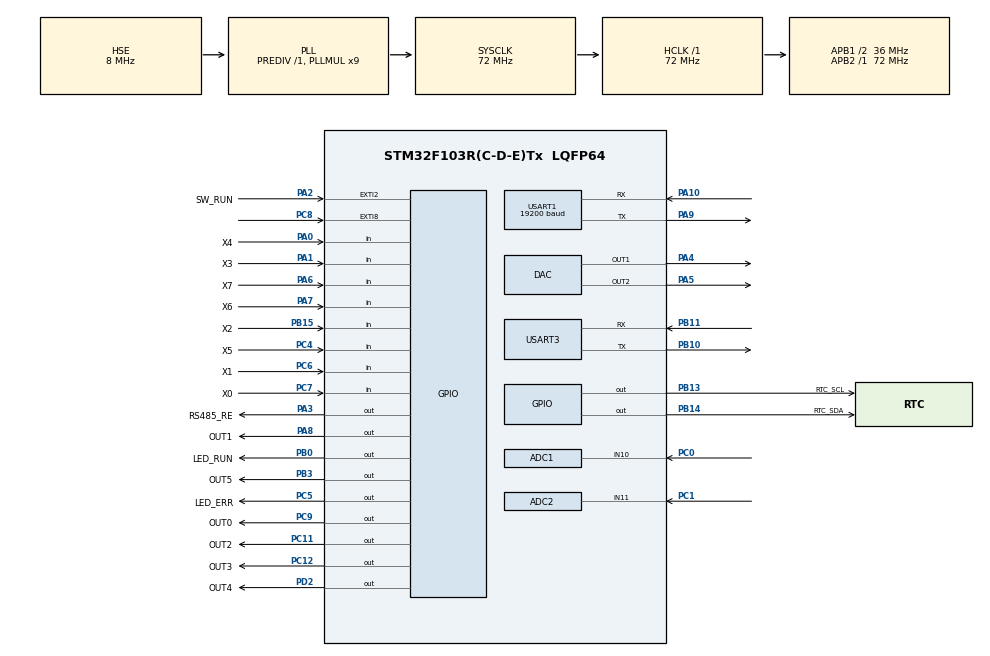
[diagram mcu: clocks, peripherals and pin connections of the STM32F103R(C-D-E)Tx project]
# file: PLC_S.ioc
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ADC1.Channel-0\#ChannelRegularConversion=ADC_CHANNEL_10
ADC1.NbrOfConversionFlag=1
ADC1.Rank-0\#ChannelRegularConversion=1
ADC1.SamplingTime-0\#ChannelRegularConversion=ADC_SAMPLETIME_1CYCLE_5
ADC1.master=1
ADC2.Channel-0\#ChannelRegularConversion=ADC_CHANNEL_11
ADC2.NbrOfConversionFlag=1
ADC2.Rank-0\#ChannelRegularConversion=1
ADC2.SamplingTime-0\#ChannelRegularConversion=ADC_SAMPLETIME_1CYCLE_5
Dma.Request0=USART1_TX
Dma.Request1=USART1_RX
Dma.Request2=USART3_RX
Dma.Request3=USART3_TX
Dma.USART1_RX.1.Direction=DMA_PERIPH_TO_MEMORY
Dma.USART1_RX.1.Instance=DMA1_Channel5
Dma.USART1_RX.1.MemDataAlignment=DMA_MDATAALIGN_BYTE
Dma.USART1_RX.1.MemInc=DMA_MINC_ENABLE
Dma.USART1_RX.1.Mode=DMA_NORMAL
Dma.USART1_RX.1.PeriphDataAlignment=DMA_PDATAALIGN_BYTE
Dma.USART1_RX.1.PeriphInc=DMA_PINC_DISABLE
Dma.USART1_RX.1.Priority=DMA_PRIORITY_LOW
Dma.USART1_TX.0.Direction=DMA_MEMORY_TO_PERIPH
Dma.USART1_TX.0.Instance=DMA1_Channel4
Dma.USART1_TX.0.MemDataAlignment=DMA_MDATAALIGN_BYTE
Dma.USART1_TX.0.MemInc=DMA_MINC_ENABLE
Dma.USART1_TX.0.Mode=DMA_NORMAL
Dma.USART1_TX.0.PeriphDataAlignment=DMA_PDATAALIGN_BYTE
Dma.USART1_TX.0.PeriphInc=DMA_PINC_DISABLE
Dma.USART1_TX.0.Priority=DMA_PRIORITY_LOW
Dma.USART3_RX.2.Direction=DMA_PERIPH_TO_MEMORY
Dma.USART3_RX.2.Instance=DMA1_Channel3
Dma.USART3_RX.2.MemDataAlignment=DMA_MDATAALIGN_BYTE
Dma.USART3_RX.2.MemInc=DMA_MINC_ENABLE
Dma.USART3_RX.2.Mode=DMA_NORMAL
Dma.USART3_RX.2.PeriphDataAlignment=DMA_PDATAALIGN_BYTE
Dma.USART3_RX.2.PeriphInc=DMA_PINC_DISABLE
Dma.USART3_RX.2.Priority=DMA_PRIORITY_LOW
Dma.USART3_TX.3.Direction=DMA_MEMORY_TO_PERIPH
Dma.USART3_TX.3.Instance=DMA1_Channel2
Dma.USART3_TX.3.MemDataAlignment=DMA_MDATAALIGN_BYTE
Dma.USART3_TX.3.MemInc=DMA_MINC_ENABLE
Dma.USART3_TX.3.Mode=DMA_NORMAL
Dma.USART3_TX.3.PeriphDataAlignment=DMA_PDATAALIGN_BYTE
Dma.USART3_TX.3.PeriphInc=DMA_PINC_DISABLE
Dma.USART3_TX.3.Priority=DMA_PRIORITY_LOW
Mcu.Family=STM32F1
Mcu.Name=STM32F103R(C-D-E)Tx
Mcu.Package=LQFP64
NVIC.DMA1_Channel2_IRQn=true\:0\:0\:false\:false\:true\:false\:true
NVIC.DMA1_Channel3_IRQn=true\:0\:0\:false\:false\:true\:false\:true
NVIC.DMA1_Channel4_IRQn=true\:0\:0\:false\:false\:true\:false\:true
NVIC.DMA1_Channel5_IRQn=true\:0\:0\:false\:false\:true\:false\:true
NVIC.PriorityGroup=NVIC_PRIORITYGROUP_4
NVIC.USART1_IRQn=true\:0\:0\:false\:false\:true\:true\:true
NVIC.USART3_IRQn=true\:0\:0\:false\:false\:true\:true\:true
PA0-WKUP.GPIO_Label=X4
PA0-WKUP.Signal=GPIO_Input
PA1.GPIO_Label=X3
PA1.Signal=GPIO_Input
PA10.Mode=Asynchronous
PA10.Signal=USART1_RX
PA13.Mode=Serial_Wire
PA13.Signal=SYS_JTMS-SWDIO
PA14.Mode=Serial_Wire
PA14.Signal=SYS_JTCK-SWCLK
PA2.GPIO_Label=SW_RUN
PA2.Signal=GPXTI2
PA3.GPIO_Label=RS485_RE
PA3.Signal=GPIO_Output
PA4.Signal=COMP_DAC1_group
PA5.Signal=COMP_DAC2_group
PA6.GPIO_Label=X7
PA6.Signal=GPIO_Input
PA7.GPIO_Label=X6
PA7.Signal=GPIO_Input
PA8.GPIO_Label=OUT1
PA8.Signal=GPIO_Output
PA9.Mode=Asynchronous
PA9.Signal=USART1_TX
PB0.GPIO_Label=LED_RUN
PB0.PinState=GPIO_PIN_SET
PB0.Signal=GPIO_Output
PB10.Mode=Asynchronous
PB10.Signal=USART3_TX
PB11.Mode=Asynchronous
PB11.Signal=USART3_RX
PB13.GPIO_Label=RTC_SCL
PB13.GPIO_ModeDefaultOutputPP=GPIO_MODE_OUTPUT_OD
PB13.GPIO_PuPd=GPIO_NOPULL
PB13.GPIO_Speed=GPIO_SPEED_FREQ_HIGH
PB13.PinState=GPIO_PIN_SET
PB13.Signal=GPIO_Output
PB14.GPIO_Label=RTC_SDA
PB14.GPIO_ModeDefaultOutputPP=GPIO_MODE_OUTPUT_OD
PB14.GPIO_PuPd=GPIO_NOPULL
PB14.GPIO_Speed=GPIO_SPEED_FREQ_HIGH
PB14.PinState=GPIO_PIN_SET
PB14.Signal=GPIO_Output
PB15.GPIO_Label=X2
PB15.Signal=GPIO_Input
PB3.GPIO_Label=OUT5
PB3.Signal=GPIO_Output
PC0.Signal=ADCx_IN10
PC1.Signal=ADCx_IN11
PC11.GPIO_Label=OUT2
PC11.Signal=GPIO_Output
PC12.GPIO_Label=OUT3
PC12.Signal=GPIO_Output
PC4.GPIO_Label=X5
PC4.Signal=GPIO_Input
PC5.GPIO_Label=LED_ERR
PC5.Signal=GPIO_Output
PC6.GPIO_Label=X1
PC6.Signal=GPIO_Input
PC7.GPIO_Label=X0
PC7.Signal=GPIO_Input
PC8.Signal=GPXTI8
PC9.GPIO_Label=OUT0
PC9.Signal=GPIO_Output
PD0-OSC_IN.Mode=HSE-External-Oscillator
PD0-OSC_IN.Signal=RCC_OSC_IN
PD1-OSC_OUT.Mode=HSE-External-Oscillator
PD1-OSC_OUT.Signal=RCC_OSC_OUT
PD2.GPIO_Label=OUT4
PD2.Signal=GPIO_Output
ProjectManager.HeapSize=0x200
ProjectManager.StackSize=0x600
ProjectManager.TargetToolchain=STM32CubeIDE
RCC.ADCPresc=RCC_ADCPCLK2_DIV6
RCC.AHBFreq_Value=72000000
RCC.APB1CLKDivider=RCC_HCLK_DIV2
RCC.APB1Freq_Value=36000000
RCC.APB1TimFreq_Value=72000000
RCC.APB2Freq_Value=72000000
RCC.APB2TimFreq_Value=72000000
RCC.HCLKFreq_Value=72000000
RCC.PLLMUL=RCC_PLL_MUL9
RCC.PLLSourceVirtual=RCC_PLLSOURCE_HSE
RCC.SYSCLKFreq_VALUE=72000000
RCC.SYSCLKSource=RCC_SYSCLKSOURCE_PLLCLK
RCC.USBFreq_Value=72000000
SH.ADCx_IN10.0=ADC1_IN10,IN10
SH.ADCx_IN11.0=ADC2_IN11,IN11
SH.COMP_DAC1_group.0=DAC_OUT1,DAC_OUT1
SH.COMP_DAC2_group.0=DAC_OUT2,DAC_OUT2
USART1.BaudRate=19200
USART1.VirtualMode=VM_ASYNC
USART3.VirtualMode=VM_ASYNC
board=custom

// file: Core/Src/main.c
/* USER CODE BEGIN Header */
/**
  ******************************************************************************
  * @file           : main.c
  * @brief          : Main program body
  ******************************************************************************
  * @attention
  *
  * Copyright (c) 2022 STMicroelectronics.
  * All rights reserved.
  *
  * This software is licensed under terms that can be found in the LICENSE file
  * in the root directory of this software component.
  * If no LICENSE file comes with this software, it is provided AS-IS.
  *
  ******************************************************************************
  */
/* USER CODE END Header */
#include "main.h"
#include <stdint.h>
#include <stdio.h>
/* USER CODE BEGIN Includes */
uint8_t data[10];
/* USER CODE END Includes */

ADC_HandleTypeDef hadc1;
ADC_HandleTypeDef hadc2;

DAC_HandleTypeDef hdac;

UART_HandleTypeDef huart1;
UART_HandleTypeDef huart3;
DMA_HandleTypeDef hdma_usart1_tx;
DMA_HandleTypeDef hdma_usart1_rx;
DMA_HandleTypeDef hdma_usart3_rx;
DMA_HandleTypeDef hdma_usart3_tx;

/* USER CODE BEGIN PV */
const uint8_t plc_programCodeBuf[34000] __attribute__((section(".PLC_PROG"))) = {
    // FLASH起始地址为PLC信息**************************最前的0X02表示PLC为16K的程序步,密码区域和差数区域****************
    0x10, 0x00, 0xD8, 0xBA, 0x00, 0x00, 0x00, 0x00,
    0x20, 0x20, 0x20, 0x20, 0x20, 0x20, 0x20, 0x20,
    0x20, 0x20, 0x20, 0x20, 0x20, 0x20, 0x20, 0x20,
    0x20, 0x20, 0x20, 0x20, 0x20, 0x20, 0x20, 0x20,
    0x20, 0x20, 0x20, 0x20, 0x20, 0x20, 0x20, 0x20,
    0x20, 0x20, 0x20, 0x20, 0x20, 0x20, 0x20, 0x20,
    0xF4, 0x09, 0xFF, 0x0B, 0xF4, 0x01, 0xE7, 0x03,
    0x64, 0x0E, 0xC7, 0x0E, 0xDC, 0x0E, 0xFF, 0x0E,
    0x90, 0x01, 0xFE, 0x03, 0x00, 0x00, 0x00, 0x00,
    0x00, 0x00, 0x00, 0x00, 0x00, 0x00, 0x00, 0x00,
    0x83, 0x00, 0x00, 0x00, 0x00, 0x00, 0x00, 0x00,
    0x00, 0x00, 0x00, 0x00, 0x0F, 0x00, //结束指令
    0XFF, 0XFF,
    0XFF, 0XFF, 0XFF, 0XFF, 0XFF, 0XFF, 0XFF, 0XFF,
    0XFF, 0XFF, 0XFF, 0XFF, 0XFF, 0XFF, 0XFF, 0XFF,
    0XFF, 0XFF, 0XFF, 0XFF, 0XFF,
};
/* USER CODE END PV */

void SystemClock_Config(void);
static void MX_GPIO_Init(void);
static void MX_USART1_UART_Init(void);
static void MX_DMA_Init(void);
static void MX_USART3_UART_Init(void);
static void MX_ADC1_Init(void);
static void MX_ADC2_Init(void);
static void MX_DAC_Init(void);
/* USER CODE BEGIN PFP */
#ifdef __GNUC__
#define PUTCHAR_PROTOTYPE int __io_putchar(int ch)
#else
#define PUTCHAR_PROTOTYPE int fputc(int ch, FILE *f)
#endif
/* USER CODE END PFP */

/* USER CODE BEGIN 0 */
PUTCHAR_PROTOTYPE {
  if (ch == '\n')
    HAL_UART_Transmit(&huart1, (uint8_t*)"\r\n", 2, 1000);
  else
    HAL_UART_Transmit(&huart1, (uint8_t*)&ch, 1, 1000);
  return ch;
}
/* USER CODE END 0 */

int main(void)
{

  /* MCU Configuration--------------------------------------------------------*/

  /* Reset of all peripherals, Initializes the Flash interface and the Systick. */
  HAL_Init();

  /* Configure the system clock */
  SystemClock_Config();

  /* Initialize all configured peripherals */
  MX_GPIO_Init();
  MX_USART1_UART_Init();
  MX_DMA_Init();
  MX_USART3_UART_Init();
  MX_ADC1_Init();
  MX_ADC2_Init();
  MX_DAC_Init();
  /* USER CODE BEGIN 2 */
  for (uint8_t i = 0; i < 10; i++)
  {
    data[i] = plc_programCodeBuf[i];
  }
  printf("Hello World\r\n!");
  /* USER CODE END 2 */

  /* Infinite loop */
  while (1)
  {

  }
}

void SystemClock_Config(void)
{
  RCC_OscInitTypeDef RCC_OscInitStruct = {0};
  RCC_ClkInitTypeDef RCC_ClkInitStruct = {0};
  RCC_PeriphCLKInitTypeDef PeriphClkInit = {0};

  /** Initializes the RCC Oscillators according to the specified parameters
  * in the RCC_OscInitTypeDef structure.
  */
  RCC_OscInitStruct.OscillatorType = RCC_OSCILLATORTYPE_HSE;
  RCC_OscInitStruct.HSEState = RCC_HSE_ON;
  RCC_OscInitStruct.HSEPredivValue = RCC_HSE_PREDIV_DIV1;
  RCC_OscInitStruct.HSIState = RCC_HSI_ON;
  RCC_OscInitStruct.PLL.PLLState = RCC_PLL_ON;
  RCC_OscInitStruct.PLL.PLLSource = RCC_PLLSOURCE_HSE;
  RCC_OscInitStruct.PLL.PLLMUL = RCC_PLL_MUL9;
  if (HAL_RCC_OscConfig(&RCC_OscInitStruct) != HAL_OK)
  {
    Error_Handler();
  }
  /** Initializes the CPU, AHB and APB buses clocks
  */
  RCC_ClkInitStruct.ClockType = RCC_CLOCKTYPE_HCLK|RCC_CLOCKTYPE_SYSCLK
                              |RCC_CLOCKTYPE_PCLK1|RCC_CLOCKTYPE_PCLK2;
  RCC_ClkInitStruct.SYSCLKSource = RCC_SYSCLKSOURCE_PLLCLK;
  RCC_ClkInitStruct.AHBCLKDivider = RCC_SYSCLK_DIV1;
  RCC_ClkInitStruct.APB1CLKDivider = RCC_HCLK_DIV2;
  RCC_ClkInitStruct.APB2CLKDivider = RCC_HCLK_DIV1;

  if (HAL_RCC_ClockConfig(&RCC_ClkInitStruct, FLASH_LATENCY_2) != HAL_OK)
  {
    Error_Handler();
  }
  PeriphClkInit.PeriphClockSelection = RCC_PERIPHCLK_ADC;
  PeriphClkInit.AdcClockSelection = RCC_ADCPCLK2_DIV6;
  if (HAL_RCCEx_PeriphCLKConfig(&PeriphClkInit) != HAL_OK)
  {
    Error_Handler();
  }
}

static void MX_ADC1_Init(void)
{

  ADC_ChannelConfTypeDef sConfig = {0};

  /** Common config
  */
  hadc1.Instance = ADC1;
  hadc1.Init.ScanConvMode = ADC_SCAN_DISABLE;
  hadc1.Init.ContinuousConvMode = DISABLE;
  hadc1.Init.DiscontinuousConvMode = DISABLE;
  hadc1.Init.ExternalTrigConv = ADC_SOFTWARE_START;
  hadc1.Init.DataAlign = ADC_DATAALIGN_RIGHT;
  hadc1.Init.NbrOfConversion = 1;
  if (HAL_ADC_Init(&hadc1) != HAL_OK)
  {
    Error_Handler();
  }
  /** Configure Regular Channel
  */
  sConfig.Channel = ADC_CHANNEL_10;
  sConfig.Rank = ADC_REGULAR_RANK_1;
  sConfig.SamplingTime = ADC_SAMPLETIME_1CYCLE_5;
  if (HAL_ADC_ConfigChannel(&hadc1, &sConfig) != HAL_OK)
  {
    Error_Handler();
  }

}

static void MX_ADC2_Init(void)
{

  ADC_ChannelConfTypeDef sConfig = {0};

  /** Common config
  */
  hadc2.Instance = ADC2;
  hadc2.Init.ScanConvMode = ADC_SCAN_DISABLE;
  hadc2.Init.ContinuousConvMode = DISABLE;
  hadc2.Init.DiscontinuousConvMode = DISABLE;
  hadc2.Init.ExternalTrigConv = ADC_SOFTWARE_START;
  hadc2.Init.DataAlign = ADC_DATAALIGN_RIGHT;
  hadc2.Init.NbrOfConversion = 1;
  if (HAL_ADC_Init(&hadc2) != HAL_OK)
  {
    Error_Handler();
  }
  /** Configure Regular Channel
  */
  sConfig.Channel = ADC_CHANNEL_11;
  sConfig.Rank = ADC_REGULAR_RANK_1;
  sConfig.SamplingTime = ADC_SAMPLETIME_1CYCLE_5;
  if (HAL_ADC_ConfigChannel(&hadc2, &sConfig) != HAL_OK)
  {
    Error_Handler();
  }

}

static void MX_DAC_Init(void)
{

  DAC_ChannelConfTypeDef sConfig = {0};

  /** DAC Initialization
  */
  hdac.Instance = DAC;
  if (HAL_DAC_Init(&hdac) != HAL_OK)
  {
    Error_Handler();
  }
  /** DAC channel OUT1 config
  */
  sConfig.DAC_Trigger = DAC_TRIGGER_NONE;
  sConfig.DAC_OutputBuffer = DAC_OUTPUTBUFFER_ENABLE;
  if (HAL_DAC_ConfigChannel(&hdac, &sConfig, DAC_CHANNEL_1) != HAL_OK)
  {
    Error_Handler();
  }
  /** DAC channel OUT2 config
  */
  if (HAL_DAC_ConfigChannel(&hdac, &sConfig, DAC_CHANNEL_2) != HAL_OK)
  {
    Error_Handler();
  }

}

static void MX_USART1_UART_Init(void)
{

  huart1.Instance = USART1;
  huart1.Init.BaudRate = 19200;
  huart1.Init.BaudRate = 115200;
  huart1.Init.WordLength = UART_WORDLENGTH_8B;
  huart1.Init.StopBits = UART_STOPBITS_1;
  huart1.Init.Parity = UART_PARITY_NONE;
  huart1.Init.Mode = UART_MODE_TX_RX;
  huart1.Init.HwFlowCtl = UART_HWCONTROL_NONE;
  huart1.Init.OverSampling = UART_OVERSAMPLING_16;
  if (HAL_UART_Init(&huart1) != HAL_OK)
  {
    Error_Handler();
  }

}

static void MX_USART3_UART_Init(void)
{

  huart3.Instance = USART3;
  huart3.Init.BaudRate = 115200;
  huart3.Init.WordLength = UART_WORDLENGTH_8B;
  huart3.Init.StopBits = UART_STOPBITS_1;
  huart3.Init.Parity = UART_PARITY_NONE;
  huart3.Init.Mode = UART_MODE_TX_RX;
  huart3.Init.HwFlowCtl = UART_HWCONTROL_NONE;
  huart3.Init.OverSampling = UART_OVERSAMPLING_16;
  if (HAL_UART_Init(&huart3) != HAL_OK)
  {
    Error_Handler();
  }

}

static void MX_DMA_Init(void)
{

  /* DMA controller clock enable */
  __HAL_RCC_DMA1_CLK_ENABLE();

  /* DMA interrupt init */
  /* DMA1_Channel2_IRQn interrupt configuration */
  HAL_NVIC_SetPriority(DMA1_Channel2_IRQn, 0, 0);
  HAL_NVIC_EnableIRQ(DMA1_Channel2_IRQn);
  /* DMA1_Channel3_IRQn interrupt configuration */
  HAL_NVIC_SetPriority(DMA1_Channel3_IRQn, 0, 0);
  HAL_NVIC_EnableIRQ(DMA1_Channel3_IRQn);
  /* DMA1_Channel4_IRQn interrupt configuration */
  HAL_NVIC_SetPriority(DMA1_Channel4_IRQn, 0, 0);
  HAL_NVIC_EnableIRQ(DMA1_Channel4_IRQn);
  /* DMA1_Channel5_IRQn interrupt configuration */
  HAL_NVIC_SetPriority(DMA1_Channel5_IRQn, 0, 0);
  HAL_NVIC_EnableIRQ(DMA1_Channel5_IRQn);

}

static void MX_GPIO_Init(void)
{
  GPIO_InitTypeDef GPIO_InitStruct = {0};

  /* GPIO Ports Clock Enable */
  __HAL_RCC_GPIOC_CLK_ENABLE();
  __HAL_RCC_GPIOD_CLK_ENABLE();
  __HAL_RCC_GPIOA_CLK_ENABLE();
  __HAL_RCC_GPIOB_CLK_ENABLE();

  /*Configure GPIO pin Output Level */
  HAL_GPIO_WritePin(GPIOA, RS485_RE_Pin|OUT1_Pin, GPIO_PIN_RESET);

  /*Configure GPIO pin Output Level */
  HAL_GPIO_WritePin(GPIOC, LED_ERR_Pin|OUT0_Pin|OUT2_Pin|OUT3_Pin, GPIO_PIN_RESET);

  /*Configure GPIO pin Output Level */
  HAL_GPIO_WritePin(GPIOB, LED_RUN_Pin|RTC_SCL_Pin|RTC_SDA_Pin, GPIO_PIN_SET);

  /*Configure GPIO pin Output Level */
  HAL_GPIO_WritePin(OUT4_GPIO_Port, OUT4_Pin, GPIO_PIN_RESET);

  /*Configure GPIO pin Output Level */
  HAL_GPIO_WritePin(OUT5_GPIO_Port, OUT5_Pin, GPIO_PIN_RESET);

  /*Configure GPIO pins : PC13 PC14 PC15 PC2
                           PC3 PC10 */
  GPIO_InitStruct.Pin = GPIO_PIN_13|GPIO_PIN_14|GPIO_PIN_15|GPIO_PIN_2
                          |GPIO_PIN_3|GPIO_PIN_10;
  GPIO_InitStruct.Mode = GPIO_MODE_ANALOG;
  HAL_GPIO_Init(GPIOC, &GPIO_InitStruct);

  /*Configure GPIO pins : X4_Pin X3_Pin X7_Pin X6_Pin */
  GPIO_InitStruct.Pin = X4_Pin|X3_Pin|X7_Pin|X6_Pin;
  GPIO_InitStruct.Mode = GPIO_MODE_INPUT;
  GPIO_InitStruct.Pull = GPIO_NOPULL;
  HAL_GPIO_Init(GPIOA, &GPIO_InitStruct);

  /*Configure GPIO pin : SW_RUN_Pin */
  GPIO_InitStruct.Pin = SW_RUN_Pin;
  GPIO_InitStruct.Mode = GPIO_MODE_IT_RISING;
  GPIO_InitStruct.Pull = GPIO_NOPULL;
  HAL_GPIO_Init(SW_RUN_GPIO_Port, &GPIO_InitStruct);

  /*Configure GPIO pins : RS485_RE_Pin OUT1_Pin */
  GPIO_InitStruct.Pin = RS485_RE_Pin|OUT1_Pin;
  GPIO_InitStruct.Mode = GPIO_MODE_OUTPUT_PP;
  GPIO_InitStruct.Pull = GPIO_NOPULL;
  GPIO_InitStruct.Speed = GPIO_SPEED_FREQ_LOW;
  HAL_GPIO_Init(GPIOA, &GPIO_InitStruct);

  /*Configure GPIO pins : X5_Pin X1_Pin X0_Pin */
  GPIO_InitStruct.Pin = X5_Pin|X1_Pin|X0_Pin;
  GPIO_InitStruct.Mode = GPIO_MODE_INPUT;
  GPIO_InitStruct.Pull = GPIO_NOPULL;
  HAL_GPIO_Init(GPIOC, &GPIO_InitStruct);

  /*Configure GPIO pins : LED_ERR_Pin OUT0_Pin OUT2_Pin OUT3_Pin */
  GPIO_InitStruct.Pin = LED_ERR_Pin|OUT0_Pin|OUT2_Pin|OUT3_Pin;
  GPIO_InitStruct.Mode = GPIO_MODE_OUTPUT_PP;
  GPIO_InitStruct.Pull = GPIO_NOPULL;
  GPIO_InitStruct.Speed = GPIO_SPEED_FREQ_LOW;
  HAL_GPIO_Init(GPIOC, &GPIO_InitStruct);

  /*Configure GPIO pins : LED_RUN_Pin OUT5_Pin */
  GPIO_InitStruct.Pin = LED_RUN_Pin|OUT5_Pin;
  GPIO_InitStruct.Mode = GPIO_MODE_OUTPUT_PP;
  GPIO_InitStruct.Pull = GPIO_NOPULL;
  GPIO_InitStruct.Speed = GPIO_SPEED_FREQ_LOW;
  HAL_GPIO_Init(GPIOB, &GPIO_InitStruct);

  /*Configure GPIO pins : PB1 PB2 PB12 PB4
                           PB5 PB6 PB7 PB8
                           PB9 */
  GPIO_InitStruct.Pin = GPIO_PIN_1|GPIO_PIN_2|GPIO_PIN_12|GPIO_PIN_4
                          |GPIO_PIN_5|GPIO_PIN_6|GPIO_PIN_7|GPIO_PIN_8
                          |GPIO_PIN_9;
  GPIO_InitStruct.Mode = GPIO_MODE_ANALOG;
  HAL_GPIO_Init(GPIOB, &GPIO_InitStruct);

  /*Configure GPIO pins : RTC_SCL_Pin RTC_SDA_Pin */
  GPIO_InitStruct.Pin = RTC_SCL_Pin|RTC_SDA_Pin;
  GPIO_InitStruct.Mode = GPIO_MODE_OUTPUT_OD;
  GPIO_InitStruct.Pull = GPIO_NOPULL;
  GPIO_InitStruct.Speed = GPIO_SPEED_FREQ_HIGH;
  HAL_GPIO_Init(GPIOB, &GPIO_InitStruct);

  /*Configure GPIO pin : X2_Pin */
  GPIO_InitStruct.Pin = X2_Pin;
  GPIO_InitStruct.Mode = GPIO_MODE_INPUT;
  GPIO_InitStruct.Pull = GPIO_NOPULL;
  HAL_GPIO_Init(X2_GPIO_Port, &GPIO_InitStruct);

  /*Configure GPIO pin : PC8 */
  GPIO_InitStruct.Pin = GPIO_PIN_8;
  GPIO_InitStruct.Mode = GPIO_MODE_IT_RISING;
  GPIO_InitStruct.Pull = GPIO_NOPULL;
  HAL_GPIO_Init(GPIOC, &GPIO_InitStruct);

  /*Configure GPIO pins : PA11 PA12 PA15 */
  GPIO_InitStruct.Pin = GPIO_PIN_11|GPIO_PIN_12|GPIO_PIN_15;
  GPIO_InitStruct.Mode = GPIO_MODE_ANALOG;
  HAL_GPIO_Init(GPIOA, &GPIO_InitStruct);

  /*Configure GPIO pin : OUT4_Pin */
  GPIO_InitStruct.Pin = OUT4_Pin;
  GPIO_InitStruct.Mode = GPIO_MODE_OUTPUT_PP;
  GPIO_InitStruct.Pull = GPIO_NOPULL;
  GPIO_InitStruct.Speed = GPIO_SPEED_FREQ_LOW;
  HAL_GPIO_Init(OUT4_GPIO_Port, &GPIO_InitStruct);

}

void Error_Handler(void)
{
  __disable_irq();
  while (1)
  {
  }
}
